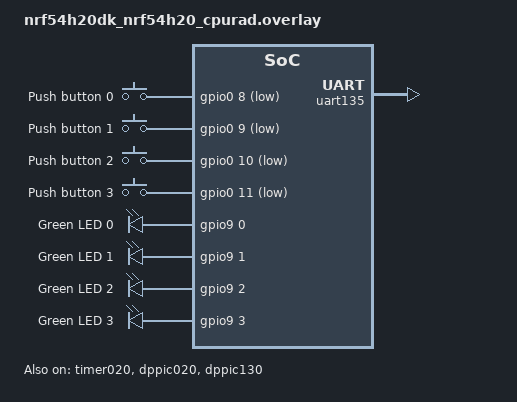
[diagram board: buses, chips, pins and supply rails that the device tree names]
/*
 * Copyright (c) 2024 Nordic Semiconductor ASA
 *
 * SPDX-License-Identifier: LicenseRef-Nordic-5-Clause
 */

 / {
	chosen {
		zephyr,console = &uart135;
	};
	aliases {
		led0 = &led0;
		led1 = &led1;
		led2 = &led2;
		led3 = &led3;	
		sw0 = &button0;
		sw1 = &button1;
		sw2 = &button2;
		sw3 = &button3;
	};

	buttons {
		compatible = "gpio-keys";

		button0: button_0 {
			gpios = <&gpio0 8 (GPIO_PULL_UP | GPIO_ACTIVE_LOW)>;
			label = "Push button 0";
			zephyr,code = <INPUT_KEY_0>;
		};

		button1: button_1 {
			gpios = <&gpio0 9 (GPIO_PULL_UP | GPIO_ACTIVE_LOW)>;
			label = "Push button 1";
			zephyr,code = <INPUT_KEY_1>;
		};

		button2: button_2 {
			gpios = <&gpio0 10 (GPIO_PULL_UP | GPIO_ACTIVE_LOW)>;
			label = "Push button 2";
			zephyr,code = <INPUT_KEY_2>;
		};

		button3: button_3 {
			gpios = <&gpio0 11 (GPIO_PULL_UP | GPIO_ACTIVE_LOW)>;
			label = "Push button 3";
			zephyr,code = <INPUT_KEY_3>;
		};
	};
	leds {
		compatible = "gpio-leds";

		led0: led_0 {
			gpios = <&gpio9 0 GPIO_ACTIVE_HIGH>;
			label = "Green LED 0";
		};

		led1: led_1 {
			gpios = <&gpio9 1 GPIO_ACTIVE_HIGH>;
			label = "Green LED 1";
		};

		led2: led_2 {
			gpios = <&gpio9 2 GPIO_ACTIVE_HIGH>;
			label = "Green LED 2";
		};

		led3: led_3 {
			gpios = <&gpio9 3 GPIO_ACTIVE_HIGH>;
			label = "Green LED 3";
		};
	};			

};

&gpio9 {
	status = "okay";
};

&gpio0 {
	status = "okay";
};

&gpiote130 {
	owned-channels = <1 2 3 4 5 6 7>;
	status = "okay";
};

&uart136 {
	status = "disabled";
};

&uart135 {
	status = "okay";
	memory-regions = <&cpurad_dma_region>;

};
&timer020 {
	status = "okay";
};
&dppic020 {
	status = "okay";
	source-channels = < 0 1 2 3 4 5 >;
	sink-channels = < 6 7 8 9 10 11 >;
};

/* DPPIC where IPCT130 is located. */
&dppic130 {
	/* Remove default channels assignment */
	/delete-property/ owned-channels;
	/delete-property/ sink-channels;
	/delete-property/ source-channels;
	/delete-property/ nonsecure-channels;

	owned-channels = <3 4>;
    	/* 3 for gpiote130 */
	sink-channels = <3>;
    	/* not used*/
	source-channels = <4>;
	status = "okay";
};

&dppic020 {
	/* For now either `sink-channels` or `source-channels` property
	   must be defined even for interconnection within single DPPI domain.
	   See "Software limitations in nRF Connect SDK" chapter in the
	   "nRF54H20 hardware events" presentation. */
	sink-channels = <2>;
	source-channels = <3>;
	status = "okay";
};

&cpurad_ipct {
    	/* Remove default channels assignment */
	/delete-property/ source-channel-links;
	/delete-property/ sink-channel-links;

   	/* Radio IPCT channel 7 -> Global IPCT channel 3 (T020 CC0 event -> GPIOTE130 OUT task) */
	source-channel-links = <7 NRF_DOMAIN_ID_GLOBALSLOW 3>;
    	/* Global IPCT channel 4 -> Radio IPCT channel 6 (T131 CC5 event to -> T020 START task) */
	// sink-channel-links = <6 NRF_DOMAIN_ID_GLOBALSLOW 4>;
	status = "okay";
};

&ipct130 {
	/* Remove default channels assignment */
	/delete-property/ source-channel-links;
	/delete-property/ sink-channel-links;
	/delete-property/ owned-channels;

	status = "okay";
	owned-channels = <3>;
	/* Radio IPCT channel 7 -> Global IPCT channel 3 (T020 CC0 event -> GPIOTE130 OUT task) */
	sink-channel-links = <3 NRF_DOMAIN_ID_RADIOCORE 7>;
};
